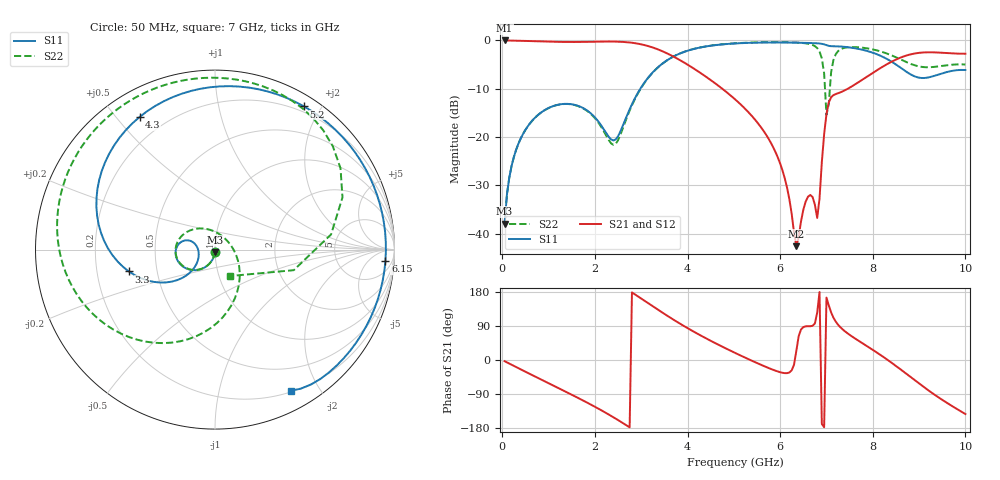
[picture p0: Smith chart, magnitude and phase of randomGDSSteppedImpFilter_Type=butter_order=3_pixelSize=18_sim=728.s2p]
! freq	dB(S11)	phase(S11)	dB(S12)	phase(S12)
!  dB(S21)	phase(S21)	dB(S22)	phase(S22)
!S-par simulation data
#  GHz  S  DB  R 50
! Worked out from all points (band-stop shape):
!   200 points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, 50 MHz to 10 GHz, reference 50 ohm
!   highest |S21| = -0.01 dB at 50 MHz (marker M1); lowest = -42.6 dB at 6.35 GHz (marker M2)
!   |S21| within 3 dB of the highest: start of sweep to 3.629 GHz; 8.767 GHz to end of sweep
!   lowest |S11| = -37.9 dB at 50 MHz (marker M3), VSWR 1.03, Z = 49.9 - j1.27 ohm
!   |S11| at or under -10 dB: start of sweep to 2.981 GHz
!   |S22| runs from -37.9 to -0.4 dB; largest |S21 - S12| = 0
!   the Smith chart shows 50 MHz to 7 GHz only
!   S11 on the Smith chart (normalised r, x): 50 MHz: 1.00, -0.03; 3.3 GHz: 0.34, -0.11; 4.3 GHz: 0.11, +0.58; 5.2 GHz: 0.13, +1.79; 6.15 GHz: 14, -19; 7 GHz: 0.21, -1.65
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0.05  -37.88 -92.7  -0.01 -3.2  -0.01 -3.2  -37.89 -92.7
0.2  -25.98 -102.5  -0.03 -12.5  -0.03 -12.5  -25.98 -102.5
0.55  -17.77 -124.3  -0.12 -34.0  -0.12 -34.0  -17.77 -124.6
1.75  -14.02 169.2  -0.31 -107.2  -0.31 -107.2  -14.08 155.9
2.45  -20.47 -162.7  -0.24 -154.8  -0.24 -154.8  -21.39 30.2
3.3  -6.11 -165.8  -1.63 137.7  -1.63 137.7  -6.14 -102.2
3.4  -5.23 -173.2  -2.00 129.6  -2.00 129.6  -5.25 -110.7
4.3  -1.41 119.6  -6.86 63.6  -6.86 63.6  -1.39 -174.5
5.05  -0.61 68.1  -12.38 17.3  -12.38 17.3  -0.58 144.5
5.2  -0.54 58.1  -13.72 8.7  -13.72 8.7  -0.50 137.0
6.15  -0.43 -3.9  -30.49 -34.7  -30.49 -34.7  -0.38 88.5
6.35  -0.46 -16.9  -42.56 24.4  -42.56 24.4  -0.44 76.7
6.7  -0.55 -40.2  -32.38 90.2  -32.38 90.2  -0.94 47.8
6.8  -0.60 -47.2  -36.73 125.3  -36.73 125.3  -1.58 33.0
6.9  -0.70 -54.6  -25.19 -168.8  -25.19 -168.8  -3.71 7.4
7  -0.98 -61.7  -15.24 164.7  -15.24 164.7  -15.42 -60.4
7.1  -1.19 -67.2  -11.76 125.7  -11.76 125.7  -6.60 122.1
7.3  -1.25 -80.2  -10.74 86.5  -10.74 86.5  -1.86 74.3
8.35  -4.07 -177.4  -4.69 -2.3  -4.69 -2.3  -2.87 4.1
8.95  -7.59 83.1  -2.63 -57.4  -2.63 -57.4  -5.26 -12.2
9.45  -6.96 -4.1  -2.53 -101.1  -2.53 -101.1  -5.33 -18.2
10  -6.11 -66.2  -2.75 -142.6  -2.75 -142.6  -4.98 -35.9
